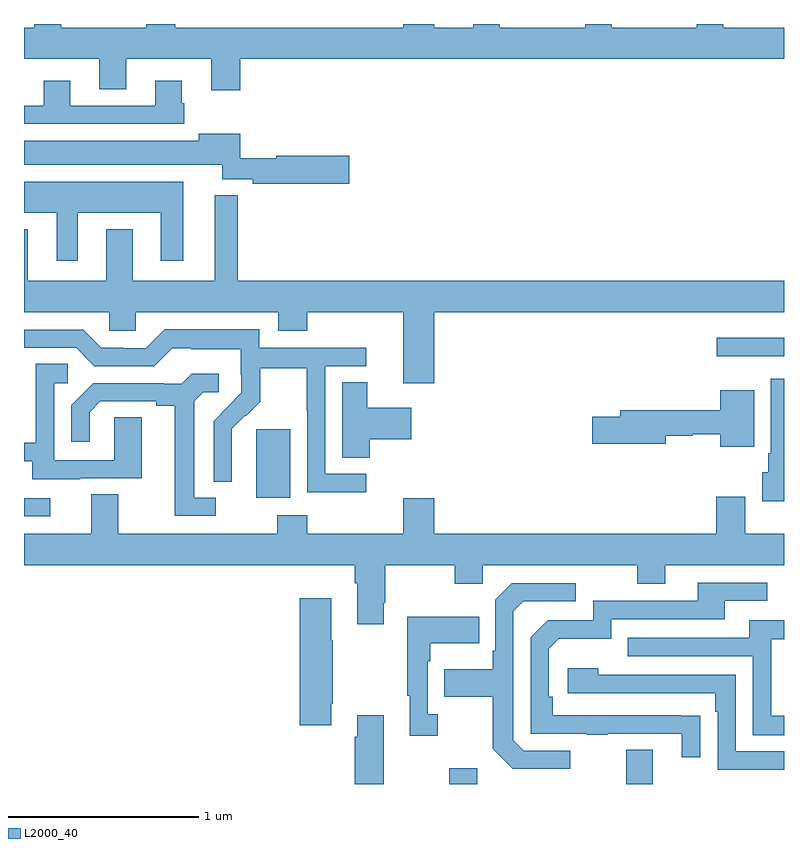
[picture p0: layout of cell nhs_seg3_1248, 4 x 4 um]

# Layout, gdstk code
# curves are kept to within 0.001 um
import gdstk
lib = gdstk.Library(unit=1e-6, precision=1e-09)
def R(c, l, rs):  # rectangles x0, y0, x1, y1
    for r in rs: c.add(gdstk.rectangle(r[:2], r[2:], *l))
def P(c, l, *ps):  # polygons
    for p in ps: c.add(gdstk.Polygon(p, *l))
L2000_40 = (2000, 40)

nhs_seg3_1248 = lib.new_cell('nhs_seg3_1248')
R(nhs_seg3_1248, L2000_40, [(177.238,730.4,177.385,730.483), (178.169,730.4,178.309,730.579), (175,731.808,175.138,731.904), (176.222,731.906,176.401,732.267), (178.647,732.651,179,732.748)])
P(nhs_seg3_1248, L2000_40, [(179,734.38),(178.681,734.38),(178.681,734.4),(178.541,734.4),(178.541,734.38),(178.093,734.38),(178.093,734.4),(177.953,734.4),(177.953,734.38),(177.505,734.38),(177.505,734.4),(177.365,734.4),(177.365,734.38),(177.16,734.38),(177.16,734.4),(176.996,734.4),(176.996,734.38),(175.796,734.38),(175.796,734.4),(175.643,734.4),(175.643,734.38),(175.195,734.38),(175.195,734.4),(175.055,734.4),(175.055,734.38),(175,734.38),(175,734.216),(175.397,734.216),(175.397,734.056),(175.537,734.056),(175.537,734.216),(175.985,734.216),(175.985,734.052),(176.138,734.052),(176.138,734.216),(179,734.216)],
  [(175.844,733.983),(175.831,733.983),(175.831,734.101),(175.691,734.101),(175.691,733.971),(175.243,733.971),(175.243,734.101),(175.103,734.101),(175.103,733.971),(175,733.971),(175,733.875),(175.844,733.875)],
  [(176.713,733.706),(176.328,733.706),(176.328,733.693),(176.139,733.693),(176.139,733.822),(175.919,733.822),(175.919,733.786),(175,733.786),(175,733.658),(176.043,733.658),(176.043,733.584),(176.203,733.584),(176.203,733.559),(176.713,733.559)],
  [(175.282,733.406),(175.721,733.406),(175.721,733.155),(175.837,733.155),(175.837,733.57),(175,733.57),(175,733.406),(175.172,733.406),(175.172,733.155),(175.282,733.155)],
  [(177.16,732.884),(179,732.884),(179,733.048),(176.125,733.048),(176.125,733.498),(176.003,733.498),(176.003,733.048),(175.573,733.048),(175.573,733.321),(175.433,733.321),(175.433,733.048),(175.021,733.048),(175.021,733.321),(175,733.321),(175,732.884),(175.449,732.884),(175.449,732.786),(175.587,732.786),(175.587,732.884),(176.339,732.884),(176.339,732.785),(176.492,732.785),(176.492,732.884),(176.996,732.884),(176.996,732.51),(177.16,732.51)],
  [(176.8,732.033),(176.586,732.033),(176.586,732.6),(176.8,732.6),(176.8,732.696),(176.238,732.696),(176.238,732.793),(175.741,732.793),(175.641,732.693),(175.526,732.693),(175.526,732.696),(175.407,732.696),(175.311,732.792),(175,732.792),(175,732.696),(175.275,732.696),(175.371,732.6),(175.686,732.6),(175.779,732.693),(175.879,732.693),(175.879,732.689),(176.142,732.689),(176.142,732.555),(176.144,732.555),(176.144,732.458),(175.998,732.31),(175.998,731.992),(176.094,731.992),(176.093,732.269),(176.163,732.339),(176.166,732.336),(176.243,732.413),(176.243,732.588),(176.488,732.588),(176.488,732.364),(176.49,732.364),(176.49,731.935),(176.8,731.935)],
  [(175.297,732.009),(175.621,732.009),(175.621,732.329),(175.476,732.329),(175.476,732.105),(175.158,732.105),(175.158,732.51),(175.231,732.51),(175.231,732.611),(175.062,732.611),(175.062,732.195),(175,732.195),(175,732.099),(175.043,732.099),(175.043,732.005),(175.297,732.005)],
  [(176.008,731.907),(175.897,731.907),(175.897,732.415),(175.944,732.462),(176.026,732.462),(176.026,732.559),(175.882,732.559),(175.83,732.507),(175.736,732.507),(175.736,732.51),(175.364,732.51),(175.248,732.394),(175.248,732.201),(175.345,732.201),(175.345,732.357),(175.402,732.414),(175.697,732.414),(175.697,732.392),(175.793,732.392),(175.793,731.811),(176.008,731.811)],
  [(179,732.532),(178.931,732.532),(178.931,732.142),(178.916,732.142),(178.916,732.042),(178.886,732.042),(178.886,731.888),(179,731.888)],
  [(176.819,732.214),(177.037,732.214),(177.037,732.379),(176.806,732.379),(176.806,732.515),(176.675,732.515),(176.675,732.118),(176.819,732.118)],
  [(178.843,732.472),(178.664,732.472),(178.664,732.368),(178.139,732.368),(178.139,732.332),(177.99,732.332),(177.99,732.19),(178.378,732.19),(178.378,732.232),(178.521,732.232),(178.521,732.24),(178.664,732.24),(178.664,732.176),(178.843,732.176)],
  [(176.893,731.353),(176.901,731.353),(176.901,731.552),(177.268,731.552),(177.268,731.453),(177.414,731.453),(177.414,731.552),(178.228,731.552),(178.228,731.453),(178.375,731.453),(178.375,731.552),(179,731.552),(179,731.716),(178.795,731.716),(178.795,731.911),(178.643,731.911),(178.643,731.716),(177.16,731.716),(177.16,731.905),(176.996,731.905),(176.996,731.716),(176.492,731.716),(176.492,731.815),(176.332,731.815),(176.332,731.716),(175.495,731.716),(175.495,731.924),(175.355,731.924),(175.355,731.716),(175,731.716),(175,731.552),(176.741,731.552),(176.741,731.456),(176.753,731.456),(176.753,731.241),(176.893,731.241)],
  [(178.559,730.76),(177.782,730.761),(177.782,730.858),(177.762,730.858),(177.762,731.112),(177.815,731.165),(178.092,731.165),(178.092,731.268),(178.687,731.268),(178.687,731.364),(178.912,731.364),(178.912,731.46),(178.547,731.46),(178.547,731.364),(177.996,731.364),(177.996,731.262),(177.756,731.262),(177.666,731.172),(177.666,730.665),(177.961,730.665),(177.961,730.66),(178.073,730.66),(178.073,730.665),(178.463,730.665),(178.463,730.542),(178.559,730.542)],
  [(177.874,730.575),(177.63,730.575),(177.576,730.629),(177.576,731.31),(177.627,731.361),(177.904,731.361),(177.904,731.457),(177.567,731.457),(177.48,731.37),(177.48,731.101),(177.468,731.101),(177.468,731.005),(177.211,731.005),(177.211,730.858),(177.468,730.858),(177.468,730.585),(177.573,730.479),(177.874,730.479)],
  [(176.617,730.822),(176.625,730.822),(176.625,731.153),(176.617,731.153),(176.617,731.377),(176.45,731.377),(176.45,730.71),(176.617,730.71)],
  [(177.178,730.766),(177.126,730.766),(177.126,731.045),(177.139,731.045),(177.139,731.141),(177.395,731.141),(177.395,731.281),(177.018,731.281),(177.018,730.865),(177.029,730.865),(177.029,730.653),(177.178,730.653)],
  [(179,730.758),(178.932,730.758),(178.932,731.163),(179,731.163),(179,731.263),(178.817,731.263),(178.817,731.169),(178.177,731.169),(178.177,731.073),(178.836,731.073),(178.836,730.657),(179,730.657)],
  [(179,730.572),(178.746,730.572),(178.746,730.974),(178.022,730.974),(178.022,731.008),(177.861,731.008),(177.861,730.878),(178.637,730.878),(178.637,730.781),(178.65,730.781),(178.65,730.476),(179,730.476)],
  [(176.893,730.762),(176.753,730.762),(176.753,730.649),(176.741,730.649),(176.741,730.4),(176.893,730.4)])

lib.write_gds('nhs_seg3_1248.gds')
